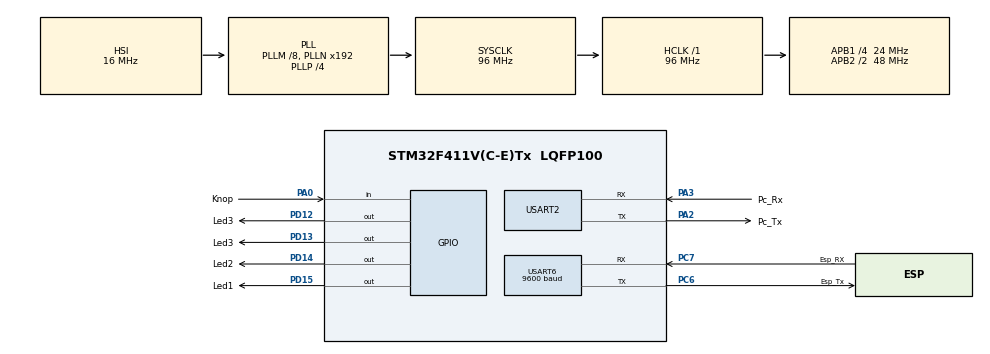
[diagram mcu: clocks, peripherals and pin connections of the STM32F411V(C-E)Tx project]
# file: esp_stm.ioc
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Mcu.Family=STM32F4
Mcu.Name=STM32F411V(C-E)Tx
Mcu.Package=LQFP100
NVIC.PriorityGroup=NVIC_PRIORITYGROUP_0
NVIC.USART2_IRQn=true\:0\:0\:false
NVIC.USART6_IRQn=true\:0\:0\:false
PA0-WKUP.GPIO_Label=Knop
PA0-WKUP.Signal=GPIO_Input
PA2.GPIO_Label=Pc_Tx
PA2.Mode=Asynchronous
PA2.Signal=USART2_TX
PA3.GPIO_Label=Pc_Rx
PA3.Mode=Asynchronous
PA3.Signal=USART2_RX
PC6.GPIO_Label=Esp_Tx
PC6.Mode=Asynchronous
PC6.Signal=USART6_TX
PC7.GPIO_Label=Esp_RX
PC7.Mode=Asynchronous
PC7.Signal=USART6_RX
PD12.GPIO_Label=Led3
PD12.Signal=GPIO_Output
PD13.GPIO_Label=Led3
PD13.Signal=GPIO_Output
PD14.GPIO_Label=Led2
PD14.Signal=GPIO_Output
PD15.GPIO_Label=Led1
PD15.Signal=GPIO_Output
ProjectManager.HeapSize=0x400
ProjectManager.StackSize=0x200
ProjectManager.TargetToolchain=TrueSTUDIO
RCC.48MHZClocksFreq_Value=48000000
RCC.AHBFreq_Value=96000000
RCC.APB1CLKDivider=RCC_HCLK_DIV4
RCC.APB1Freq_Value=24000000
RCC.APB1TimFreq_Value=48000000
RCC.APB2CLKDivider=RCC_HCLK_DIV2
RCC.APB2Freq_Value=48000000
RCC.APB2TimFreq_Value=96000000
RCC.CortexFreq_Value=96000000
RCC.HCLKFreq_Value=96000000
RCC.HSE_VALUE=8000000
RCC.HSI_VALUE=16000000
RCC.LSE_VALUE=32768
RCC.PLLI2SM=5
RCC.PLLI2SN=200
RCC.PLLM=8
RCC.PLLP=RCC_PLLP_DIV4
RCC.PLLQ=8
RCC.SYSCLKFreq_VALUE=96000000
RCC.SYSCLKSource=RCC_SYSCLKSOURCE_PLLCLK
RCC.VCOOutputFreq_Value=384000000
USART6.BaudRate=9600
board=STM32F411E-DISCO

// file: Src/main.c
/**
  ******************************************************************************
  * File Name          : main.c
  * Description        : Main program body
  ******************************************************************************
  *
  * COPYRIGHT(c) 2016 STMicroelectronics
  *
  * Redistribution and use in source and binary forms, with or without modification,
  * are permitted provided that the following conditions are met:
  *   1. Redistributions of source code must retain the above copyright notice,
  *      this list of conditions and the following disclaimer.
  *   2. Redistributions in binary form must reproduce the above copyright notice,
  *      this list of conditions and the following disclaimer in the documentation
  *      and/or other materials provided with the distribution.
  *   3. Neither the name of STMicroelectronics nor the names of its contributors
  *      may be used to endorse or promote products derived from this software
  *      without specific prior written permission.
  *
  * THIS SOFTWARE IS PROVIDED BY THE COPYRIGHT HOLDERS AND CONTRIBUTORS "AS IS"
  * AND ANY EXPRESS OR IMPLIED WARRANTIES, INCLUDING, BUT NOT LIMITED TO, THE
  * IMPLIED WARRANTIES OF MERCHANTABILITY AND FITNESS FOR A PARTICULAR PURPOSE ARE
  * DISCLAIMED. IN NO EVENT SHALL THE COPYRIGHT HOLDER OR CONTRIBUTORS BE LIABLE
  * FOR ANY DIRECT, INDIRECT, INCIDENTAL, SPECIAL, EXEMPLARY, OR CONSEQUENTIAL
  * DAMAGES (INCLUDING, BUT NOT LIMITED TO, PROCUREMENT OF SUBSTITUTE GOODS OR
  * SERVICES; LOSS OF USE, DATA, OR PROFITS; OR BUSINESS INTERRUPTION) HOWEVER
  * CAUSED AND ON ANY THEORY OF LIABILITY, WHETHER IN CONTRACT, STRICT LIABILITY,
  * OR TORT (INCLUDING NEGLIGENCE OR OTHERWISE) ARISING IN ANY WAY OUT OF THE USE
  * OF THIS SOFTWARE, EVEN IF ADVISED OF THE POSSIBILITY OF SUCH DAMAGE.
  *
  ******************************************************************************
  */
#include "stm32f4xx_hal.h"

/* USER CODE BEGIN Includes */

#include "olivier.h"
#include <string.h>

/* USER CODE END Includes */

UART_HandleTypeDef huart2;
UART_HandleTypeDef huart6;

/* USER CODE BEGIN PV */
/* Private variables ---------------------------------------------------------*/

/* USER CODE END PV */

void SystemClock_Config(void);
static void MX_GPIO_Init(void);
static void MX_USART2_UART_Init(void);
static void MX_USART6_UART_Init(void);

/* USER CODE BEGIN PFP */
/* Private function prototypes -----------------------------------------------*/

/* USER CODE END PFP */

int main(void)
{

  /* MCU Configuration----------------------------------------------------------*/

  /* Reset of all peripherals, Initializes the Flash interface and the Systick. */
  HAL_Init();

  /* Configure the system clock */
  SystemClock_Config();

  /* Initialize all configured peripherals */
  MX_GPIO_Init();
  MX_USART2_UART_Init();
  MX_USART6_UART_Init();

  /* USER CODE BEGIN 2 */

  sendWelkom();

  HAL_Delay(500);

  const char *liedjes[4];
  liedjes[0] = "Missing - Exd";
  liedjes[1] = "Lean on - Majer Lazer";
  liedjes[2] = "The Hills - The Weekend";
  liedjes[3] = "Faded - Alan Walker";

  setSong(1,liedjes[0]);
  setSong(2,liedjes[1]);
  setSong(3,liedjes[2]);
  setSong(4,liedjes[3]);

  char buffer[100];

  /* USER CODE END 2 */

  /* Infinite loop */
  while (1)
  {

  /* USER CODE BEGIN 3 */

	  if(HAL_GPIO_ReadPin(GPIOA,Knop_Pin))
	  {
		  sprintf(buffer,"Meest gestemd: %d\n",getBest());
		  HAL_UART_Transmit(&huart2,(uint8_t*)buffer,strlen(buffer),10);
	  }
	  HAL_Delay(100);

  }
  /* USER CODE END 3 */

}

/** System Clock Configuration
*/
void SystemClock_Config(void)
{

  RCC_OscInitTypeDef RCC_OscInitStruct;
  RCC_ClkInitTypeDef RCC_ClkInitStruct;

  __PWR_CLK_ENABLE();

  __HAL_PWR_VOLTAGESCALING_CONFIG(PWR_REGULATOR_VOLTAGE_SCALE1);

  RCC_OscInitStruct.OscillatorType = RCC_OSCILLATORTYPE_HSI;
  RCC_OscInitStruct.HSIState = RCC_HSI_ON;
  RCC_OscInitStruct.HSICalibrationValue = 16;
  RCC_OscInitStruct.PLL.PLLState = RCC_PLL_ON;
  RCC_OscInitStruct.PLL.PLLSource = RCC_PLLSOURCE_HSI;
  RCC_OscInitStruct.PLL.PLLM = 8;
  RCC_OscInitStruct.PLL.PLLN = 192;
  RCC_OscInitStruct.PLL.PLLP = RCC_PLLP_DIV4;
  RCC_OscInitStruct.PLL.PLLQ = 8;
  HAL_RCC_OscConfig(&RCC_OscInitStruct);

  RCC_ClkInitStruct.ClockType = RCC_CLOCKTYPE_HCLK|RCC_CLOCKTYPE_SYSCLK
                              |RCC_CLOCKTYPE_PCLK1|RCC_CLOCKTYPE_PCLK2;
  RCC_ClkInitStruct.SYSCLKSource = RCC_SYSCLKSOURCE_PLLCLK;
  RCC_ClkInitStruct.AHBCLKDivider = RCC_SYSCLK_DIV1;
  RCC_ClkInitStruct.APB1CLKDivider = RCC_HCLK_DIV4;
  RCC_ClkInitStruct.APB2CLKDivider = RCC_HCLK_DIV2;
  HAL_RCC_ClockConfig(&RCC_ClkInitStruct, FLASH_LATENCY_3);

  HAL_SYSTICK_Config(HAL_RCC_GetHCLKFreq()/1000);

  HAL_SYSTICK_CLKSourceConfig(SYSTICK_CLKSOURCE_HCLK);

  /* SysTick_IRQn interrupt configuration */
  HAL_NVIC_SetPriority(SysTick_IRQn, 0, 0);
}

/* USART2 init function */
void MX_USART2_UART_Init(void)
{

  huart2.Instance = USART2;
  huart2.Init.BaudRate = 115200;
  huart2.Init.WordLength = UART_WORDLENGTH_8B;
  huart2.Init.StopBits = UART_STOPBITS_1;
  huart2.Init.Parity = UART_PARITY_NONE;
  huart2.Init.Mode = UART_MODE_TX_RX;
  huart2.Init.HwFlowCtl = UART_HWCONTROL_NONE;
  huart2.Init.OverSampling = UART_OVERSAMPLING_16;
  HAL_UART_Init(&huart2);

}

/* USART6 init function */
void MX_USART6_UART_Init(void)
{

  huart6.Instance = USART6;
  huart6.Init.BaudRate = 9600;
  huart6.Init.WordLength = UART_WORDLENGTH_8B;
  huart6.Init.StopBits = UART_STOPBITS_1;
  huart6.Init.Parity = UART_PARITY_NONE;
  huart6.Init.Mode = UART_MODE_TX_RX;
  huart6.Init.HwFlowCtl = UART_HWCONTROL_NONE;
  huart6.Init.OverSampling = UART_OVERSAMPLING_16;
  HAL_UART_Init(&huart6);

}

/** Configure pins as
        * Analog
        * Input
        * Output
        * EVENT_OUT
        * EXTI
*/
void MX_GPIO_Init(void)
{

  GPIO_InitTypeDef GPIO_InitStruct;

  /* GPIO Ports Clock Enable */
  __GPIOA_CLK_ENABLE();
  __GPIOD_CLK_ENABLE();
  __GPIOC_CLK_ENABLE();

  /*Configure GPIO pin : Knop_Pin */
  GPIO_InitStruct.Pin = Knop_Pin;
  GPIO_InitStruct.Mode = GPIO_MODE_INPUT;
  GPIO_InitStruct.Pull = GPIO_NOPULL;
  HAL_GPIO_Init(Knop_GPIO_Port, &GPIO_InitStruct);

  /*Configure GPIO pins : Led3_Pin Led3D13_Pin Led2_Pin Led1_Pin */
  GPIO_InitStruct.Pin = Led3_Pin|Led3D13_Pin|Led2_Pin|Led1_Pin;
  GPIO_InitStruct.Mode = GPIO_MODE_OUTPUT_PP;
  GPIO_InitStruct.Pull = GPIO_NOPULL;
  GPIO_InitStruct.Speed = GPIO_SPEED_LOW;
  HAL_GPIO_Init(GPIOD, &GPIO_InitStruct);

  /*Configure GPIO pin Output Level */
  HAL_GPIO_WritePin(GPIOD, Led3_Pin|Led3D13_Pin|Led2_Pin|Led1_Pin, GPIO_PIN_RESET);

}

/************************ (C) COPYRIGHT STMicroelectronics *****END OF FILE****/
